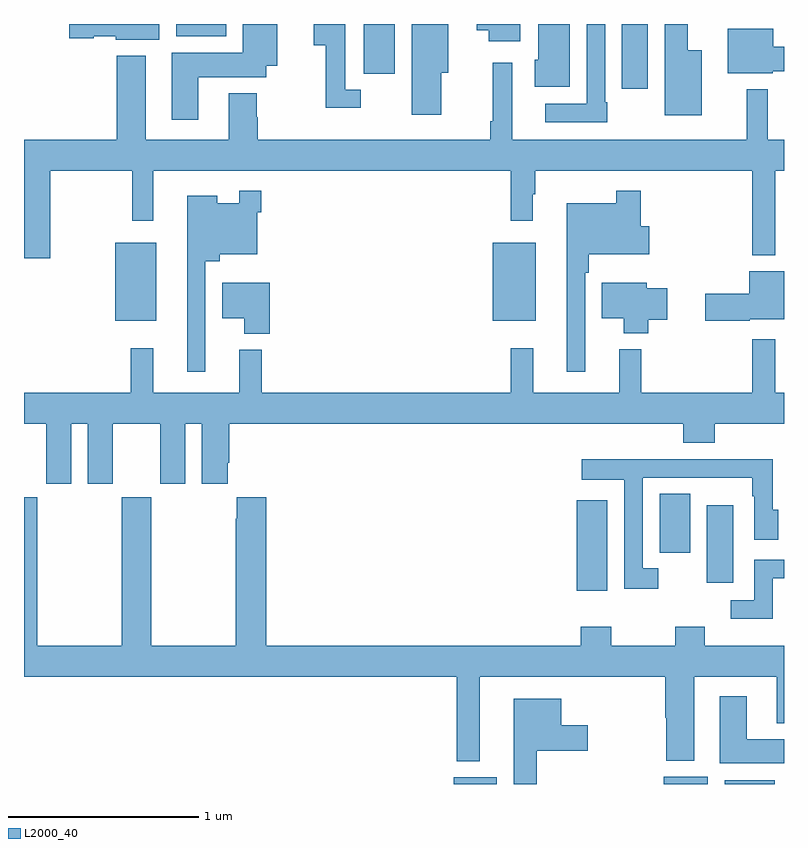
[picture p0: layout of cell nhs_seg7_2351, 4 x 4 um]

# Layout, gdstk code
import gdstk
lib = gdstk.Library(unit=1e-6, precision=1e-09)
def R(c, l, rs):  # rectangles x0, y0, x1, y1
    for r in rs: c.add(gdstk.rectangle(r[:2], r[2:], *l))
def P(c, l, *ps):  # polygons
    for p in ps: c.add(gdstk.Polygon(p, *l))
L2000_40 = (2000, 40)

nhs_seg7_2351 = lib.new_cell('nhs_seg7_2351')
R(nhs_seg7_2351, L2000_40, [(265.262,1052,265.489,1052.035), (266.366,1052,266.599,1052.038), (266.687,1052,266.95,1052.02), (265.91,1053.018,266.071,1053.493), (266.594,1053.06,266.734,1053.466), (266.345,1053.216,266.506,1053.527), (263.48,1054.439,263.695,1054.849), (265.466,1054.439,265.693,1054.849), (266.147,1055.658,266.284,1056), (264.788,1055.739,264.952,1056), (263.801,1055.936,264.064,1056)])
P(nhs_seg7_2351, L2000_40, [(266.566,1055.863),(266.494,1055.863),(266.494,1056),(266.372,1056),(266.372,1055.519),(266.566,1055.519)],
  [(265.195,1055.744),(265.234,1055.744),(265.234,1056),(265.04,1056),(265.04,1055.523),(265.195,1055.523)],
  [(264.772,1055.655),(264.69,1055.655),(264.69,1056),(264.524,1056),(264.524,1055.888),(264.589,1055.888),(264.589,1055.558),(264.772,1055.558)],
  [(263.917,1055.72),(264.274,1055.72),(264.274,1055.78),(264.334,1055.78),(264.334,1056),(264.152,1056),(264.152,1055.848),(263.777,1055.848),(263.777,1055.496),(263.917,1055.496)],
  [(265.873,1056),(265.706,1056),(265.706,1055.811),(265.688,1055.811),(265.688,1055.669),(265.873,1055.669)],
  [(265.612,1056),(265.382,1056),(265.382,1055.966),(265.445,1055.966),(265.445,1055.909),(265.612,1055.909)],
  [(266.071,1055.587),(266.058,1055.587),(266.058,1056),(265.962,1056),(265.962,1055.58),(265.743,1055.58),(265.743,1055.484),(266.071,1055.484)],
  [(263.713,1056),(263.238,1056),(263.238,1055.924),(263.367,1055.924),(263.367,1055.936),(263.484,1055.936),(263.484,1055.918),(263.713,1055.918)],
  [(266.94,1055.752),(267,1055.752),(267,1055.881),(266.944,1055.881),(266.944,1055.974),(266.705,1055.974),(266.705,1055.741),(266.94,1055.741)],
  [(263.139,1055.228),(263.571,1055.228),(263.571,1054.965),(263.68,1054.965),(263.68,1055.228),(265.561,1055.228),(265.561,1054.965),(265.678,1054.965),(265.678,1055.105),(265.69,1055.105),(265.69,1055.228),(266.832,1055.228),(266.832,1054.784),(266.953,1054.784),(266.953,1055.228),(267,1055.228),(267,1055.392),(266.914,1055.392),(266.914,1055.656),(266.803,1055.656),(266.803,1055.392),(265.569,1055.392),(265.569,1055.797),(265.468,1055.797),(265.468,1055.488),(265.453,1055.488),(265.453,1055.392),(264.23,1055.392),(264.23,1055.508),(264.225,1055.508),(264.225,1055.635),(264.077,1055.635),(264.077,1055.392),(263.641,1055.392),(263.641,1055.833),(263.489,1055.833),(263.489,1055.392),(263,1055.392),(263,1054.767),(263.139,1054.767)],
  [(265.953,1054.691),(265.973,1054.691),(265.973,1054.787),(266.29,1054.787),(266.29,1054.935),(266.246,1054.935),(266.246,1055.122),(266.118,1055.122),(266.118,1055.056),(265.856,1055.056),(265.856,1054.17),(265.953,1054.17)],
  [(263.955,1054.751),(264.029,1054.751),(264.029,1054.787),(264.228,1054.787),(264.228,1055.009),(264.248,1055.009),(264.248,1055.122),(264.132,1055.122),(264.132,1055.056),(264.016,1055.056),(264.016,1055.095),(263.858,1055.095),(263.858,1054.17),(263.955,1054.17)],
  [(266.82,1054.445),(267,1054.445),(267,1054.699),(266.816,1054.699),(266.816,1054.58),(266.586,1054.58),(266.586,1054.438),(266.82,1054.438)],
  [(266.286,1054.444),(266.386,1054.444),(266.386,1054.609),(266.278,1054.609),(266.278,1054.639),(266.042,1054.639),(266.042,1054.451),(266.156,1054.451),(266.156,1054.373),(266.286,1054.373)],
  [(264.293,1054.639),(264.044,1054.639),(264.044,1054.451),(264.158,1054.451),(264.158,1054.37),(264.293,1054.37)],
  [(263.248,1053.896),(263.336,1053.896),(263.336,1053.579),(263.467,1053.579),(263.467,1053.896),(263.717,1053.896),(263.717,1053.579),(263.848,1053.579),(263.848,1053.896),(263.936,1053.896),(263.936,1053.579),(264.073,1053.579),(264.073,1053.691),(264.08,1053.691),(264.08,1053.896),(266.471,1053.896),(266.471,1053.797),(266.636,1053.797),(266.636,1053.896),(267,1053.896),(267,1054.06),(266.953,1054.06),(266.953,1054.342),(266.832,1054.342),(266.832,1054.06),(266.249,1054.06),(266.249,1054.288),(266.132,1054.288),(266.132,1054.06),(265.679,1054.06),(265.679,1054.294),(265.561,1054.294),(265.561,1054.06),(264.251,1054.06),(264.251,1054.285),(264.134,1054.285),(264.134,1054.06),(263.681,1054.06),(263.681,1054.294),(263.563,1054.294),(263.563,1054.06),(263,1054.06),(263,1053.896),(263.117,1053.896),(263.117,1053.579),(263.248,1053.579)],
  [(266.338,1053.135),(266.256,1053.135),(266.256,1053.612),(266.602,1053.612),(266.602,1053.611),(266.832,1053.611),(266.832,1053.515),(266.844,1053.515),(266.844,1053.285),(266.971,1053.285),(266.971,1053.444),(266.94,1053.444),(266.94,1053.71),(266.719,1053.71),(266.719,1053.708),(266.353,1053.708),(266.353,1053.71),(265.935,1053.71),(265.935,1053.602),(266.16,1053.602),(266.16,1053.027),(266.338,1053.027)],
  [(265.399,1052.564),(266.375,1052.564),(266.375,1052.349),(266.38,1052.349),(266.38,1052.123),(266.527,1052.123),(266.527,1052.564),(266.963,1052.564),(266.963,1052.321),(267,1052.321),(267,1052.728),(266.583,1052.728),(266.583,1052.827),(266.428,1052.827),(266.428,1052.728),(266.091,1052.728),(266.091,1052.827),(265.931,1052.827),(265.931,1052.728),(264.275,1052.728),(264.275,1053.508),(264.119,1053.508),(264.119,1053.395),(264.115,1053.395),(264.115,1052.728),(263.67,1052.728),(263.67,1053.508),(263.515,1053.508),(263.515,1052.728),(263.07,1052.728),(263.07,1053.508),(263,1053.508),(263,1052.564),(265.278,1052.564),(265.278,1052.12),(265.399,1052.12)],
  [(266.94,1053.084),(267,1053.084),(267,1053.18),(266.844,1053.18),(266.844,1052.967),(266.721,1052.967),(266.721,1052.87),(266.94,1052.87)],
  [(267,1052.236),(266.803,1052.236),(266.803,1052.461),(266.663,1052.461),(266.663,1052.108),(267,1052.108)],
  [(265.699,1052.174),(265.966,1052.174),(265.966,1052.308),(265.828,1052.308),(265.828,1052.449),(265.577,1052.449),(265.577,1052),(265.699,1052)])

lib.write_gds('nhs_seg7_2351.gds')
